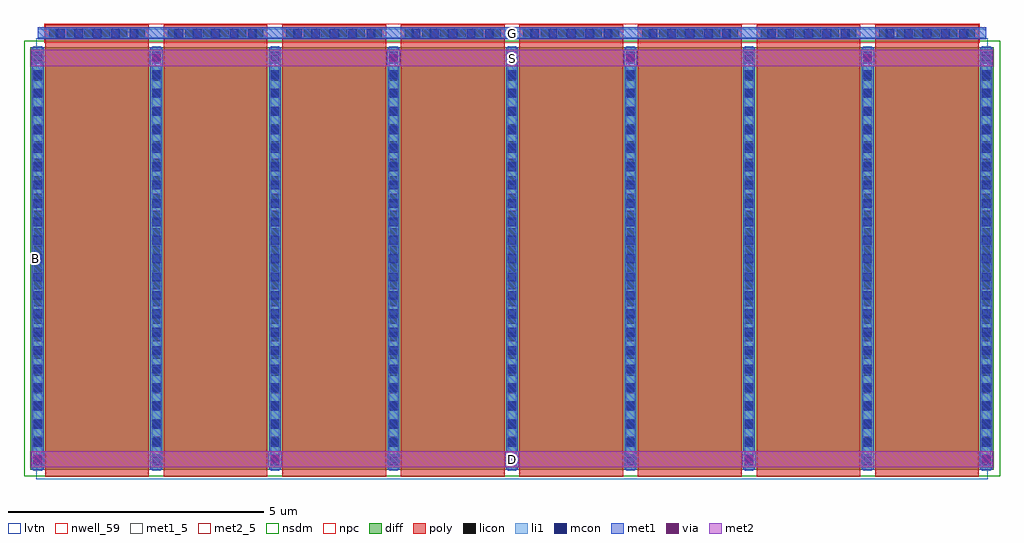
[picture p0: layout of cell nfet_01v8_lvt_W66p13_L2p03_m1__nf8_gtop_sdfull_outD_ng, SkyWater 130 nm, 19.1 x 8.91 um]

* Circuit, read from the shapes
.subckt nfet_01v8_lvt_W66p13_L2p03_m1__nf8_gtop_sdfull_outD_ng B D G S
XM1 S G D B sky130_fd_pr__nfet_01v8_lvt w=8.27 l=2.03 m=8
.ends

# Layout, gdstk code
import gdstk
lib = gdstk.Library(unit=1e-6, precision=1e-09)
def R(c, l, rs):  # rectangles x0, y0, x1, y1
    for r in rs: c.add(gdstk.rectangle(r[:2], r[2:], *l))
def A(c, l, x, y, w, h, nx, ny, dx, dy):  # array of equal rectangles
    R(c, l, [(x+i*dx, y+j*dy, x+i*dx+w, y+j*dy+h) for i in range(nx) for j in range(ny)])
nwell_59 = (64, 59)
diff = (65, 20)
poly = (66, 20)
licon = (66, 44)
li1 = (67, 20)
mcon = (67, 44)
met1_5 = (68, 5)
met1 = (68, 20)
via = (68, 44)
met2_5 = (69, 5)
met2 = (69, 20)
nsdm = (93, 44)
npc = (95, 20)
lvtn = (125, 44)

sky130_fd_pr__nfet_01v8_ = lib.new_cell('sky130_fd_pr__nfet_01v8_lvt_XY3N5Z')
R(sky130_fd_pr__nfet_01v8_, diff, [(-9.425,-4.29,9.425,3.98)])
A(sky130_fd_pr__nfet_01v8_, poly, -9.135, -4.42, 2.03, 8.84, 8, 1, 2.32, 0)
A(sky130_fd_pr__nfet_01v8_, licon, -9.365, -4.15, 0.17, 0.17, 9, 24, 2.32, 0.34)
A(sky130_fd_pr__nfet_01v8_, licon, -9.055, 4.17, 0.17, 0.17, 6, 1, 0.34, 0)
A(sky130_fd_pr__nfet_01v8_, licon, -6.735, 4.17, 0.17, 0.17, 6, 1, 0.34, 0)
A(sky130_fd_pr__nfet_01v8_, licon, -4.415, 4.17, 0.17, 0.17, 6, 1, 0.34, 0)
A(sky130_fd_pr__nfet_01v8_, licon, -2.095, 4.17, 0.17, 0.17, 6, 1, 0.34, 0)
A(sky130_fd_pr__nfet_01v8_, licon, 0.225, 4.17, 0.17, 0.17, 6, 1, 0.34, 0)
A(sky130_fd_pr__nfet_01v8_, licon, 2.545, 4.17, 0.17, 0.17, 6, 1, 0.34, 0)
A(sky130_fd_pr__nfet_01v8_, licon, 4.865, 4.17, 0.17, 0.17, 6, 1, 0.34, 0)
A(sky130_fd_pr__nfet_01v8_, licon, 7.185, 4.17, 0.17, 0.17, 6, 1, 0.34, 0)
A(sky130_fd_pr__nfet_01v8_, li1, -9.365, -4.31, 0.17, 8.31, 9, 1, 2.32, 0)
R(sky130_fd_pr__nfet_01v8_, li1, [(-9.28,4.17,9.28,4.34)])
A(sky130_fd_pr__nfet_01v8_, mcon, -9.365, -4.2, 0.17, 0.17, 9, 23, 2.32, 0.36)
A(sky130_fd_pr__nfet_01v8_, mcon, -8.925, 4.17, 0.17, 0.17, 5, 1, 0.36, 0)
A(sky130_fd_pr__nfet_01v8_, mcon, -6.605, 4.17, 0.17, 0.17, 5, 1, 0.36, 0)
A(sky130_fd_pr__nfet_01v8_, mcon, -4.285, 4.17, 0.17, 0.17, 5, 1, 0.36, 0)
A(sky130_fd_pr__nfet_01v8_, mcon, -1.965, 4.17, 0.17, 0.17, 5, 1, 0.36, 0)
A(sky130_fd_pr__nfet_01v8_, mcon, 0.355, 4.17, 0.17, 0.17, 5, 1, 0.36, 0)
A(sky130_fd_pr__nfet_01v8_, mcon, 2.675, 4.17, 0.17, 0.17, 5, 1, 0.36, 0)
A(sky130_fd_pr__nfet_01v8_, mcon, 4.995, 4.17, 0.17, 0.17, 5, 1, 0.36, 0)
A(sky130_fd_pr__nfet_01v8_, mcon, 7.315, 4.17, 0.17, 0.17, 5, 1, 0.36, 0)
A(sky130_fd_pr__nfet_01v8_, met1, -9.395, -4.29, 0.23, 8.27, 9, 1, 2.32, 0)
A(sky130_fd_pr__nfet_01v8_, met1, -9.115, 4.14, 1.99, 0.03, 8, 2, 2.32, 0.2)
R(sky130_fd_pr__nfet_01v8_, met1, [(-9.28,4.17,9.28,4.34)])
R(sky130_fd_pr__nfet_01v8_, nsdm, [(-9.55,-4.415,9.55,4.105)])
R(sky130_fd_pr__nfet_01v8_, npc, [(-9.155,4.07,9.155,4.44)])
R(sky130_fd_pr__nfet_01v8_, lvtn, [(-9.315,-4.47,9.315,4.16)])
sky130_fd_pr__nfet_01v8_.add(gdstk.Label('D0', (-9.28,-0.155), layer=67, texttype=5))
sky130_fd_pr__nfet_01v8_.add(gdstk.Label('G', (8.12,4.255), layer=67, texttype=5))
sky130_fd_pr__nfet_01v8_.add(gdstk.Label('G', (5.8,4.255), layer=67, texttype=5))
sky130_fd_pr__nfet_01v8_.add(gdstk.Label('G', (3.48,4.255), layer=67, texttype=5))
sky130_fd_pr__nfet_01v8_.add(gdstk.Label('G', (1.16,4.255), layer=67, texttype=5))
sky130_fd_pr__nfet_01v8_.add(gdstk.Label('G', (-1.16,4.255), layer=67, texttype=5))
sky130_fd_pr__nfet_01v8_.add(gdstk.Label('G', (-3.48,4.255), layer=67, texttype=5))
sky130_fd_pr__nfet_01v8_.add(gdstk.Label('G', (-5.8,4.255), layer=67, texttype=5))
sky130_fd_pr__nfet_01v8_.add(gdstk.Label('G', (-8.12,4.255), layer=67, texttype=5))
sky130_fd_pr__nfet_01v8_.add(gdstk.Label('S1', (-6.96,-0.155), layer=67, texttype=5))
sky130_fd_pr__nfet_01v8_.add(gdstk.Label('D2', (-4.64,-0.155), layer=67, texttype=5))
sky130_fd_pr__nfet_01v8_.add(gdstk.Label('S3', (-2.32,-0.155), layer=67, texttype=5))
sky130_fd_pr__nfet_01v8_.add(gdstk.Label('D4', (0,-0.155), layer=67, texttype=5))
sky130_fd_pr__nfet_01v8_.add(gdstk.Label('S5', (2.32,-0.155), layer=67, texttype=5))
sky130_fd_pr__nfet_01v8_.add(gdstk.Label('D6', (4.64,-0.155), layer=67, texttype=5))
sky130_fd_pr__nfet_01v8_.add(gdstk.Label('S7', (6.96,-0.155), layer=67, texttype=5))

nfet_01v8_lvt_w66p13_l2p = lib.new_cell('nfet_01v8_lvt_W66p13_L2p03_m1__nf8_gtop_sdfull_outD_ng')
R(nfet_01v8_lvt_w66p13_l2p, nwell_59, [(0.05,4.215,0.15,4.315)])
R(nfet_01v8_lvt_w66p13_l2p, met1_5, [(0.145,8.56,18.705,8.79)])
A(nfet_01v8_lvt_w66p13_l2p, met1, 0.015, 0.18, 0.26, 0.32, 5, 1, 4.64, 0)
A(nfet_01v8_lvt_w66p13_l2p, met1, 2.335, 8.03, 0.26, 0.32, 4, 1, 4.64, 0)
R(nfet_01v8_lvt_w66p13_l2p, met1, [(0.145,8.56,18.705,8.79)])
A(nfet_01v8_lvt_w66p13_l2p, via, 0.07, 0.265, 0.15, 0.15, 5, 1, 4.64, 0)
A(nfet_01v8_lvt_w66p13_l2p, via, 2.39, 8.115, 0.15, 0.15, 4, 1, 4.64, 0)
R(nfet_01v8_lvt_w66p13_l2p, met2_5, [(0.01,0.18,18.84,0.5), (0.01,8.03,18.84,8.35)])
R(nfet_01v8_lvt_w66p13_l2p, met2, [(0.01,0.18,18.84,0.5), (0.01,8.03,18.84,8.35)])
nfet_01v8_lvt_w66p13_l2p.add(gdstk.Reference(sky130_fd_pr__nfet_01v8_, (9.425,4.42)))
nfet_01v8_lvt_w66p13_l2p.add(gdstk.Label('S', (9.425,8.19), layer=69, texttype=5))
nfet_01v8_lvt_w66p13_l2p.add(gdstk.Label('D', (9.425,0.34), layer=69, texttype=5))
nfet_01v8_lvt_w66p13_l2p.add(gdstk.Label('G', (9.425,8.675), layer=68, texttype=5))
nfet_01v8_lvt_w66p13_l2p.add(gdstk.Label('B', (0.1,4.265), layer=64, texttype=59))

lib.write_gds('nfet_01v8_lvt_W66p13_L2p03_m1__nf8_gtop_sdfull_outD_ng.gds')
